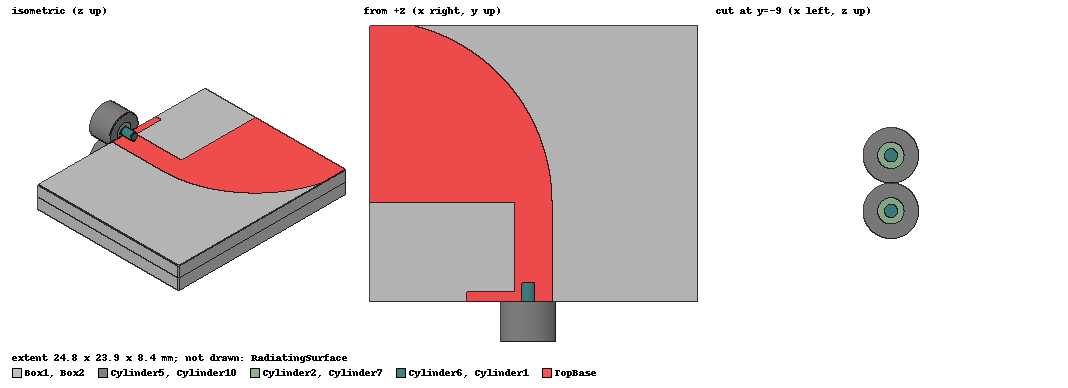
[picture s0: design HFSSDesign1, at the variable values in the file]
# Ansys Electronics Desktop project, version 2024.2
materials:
  vacuum: permittivity=1
  FR4_epoxy: permittivity=4.4 dielectric_loss_tangent=0.02
  polyethylene: permittivity=2.25 dielectric_loss_tangent=0.001
  copper: permeability=0.999991 conductivity=58000000

design HFSSDesign1 (HFSS, HFSS Modal Network, model units mm)
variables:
  W = 24.8mm
  L = 25mm
  Lg = 15mm
  Wg = 11mm
  Lf = 7.5mm
  Wd = 2.8mm
  Ld = 0.8mm
  Wf = 6.5mm
  h = 1.6mm
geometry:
  Circle1 = circle(normal=Z, centre=(0mm, 0mm, 0mm), radius=Wg+Wd)
  TopLeaf = rectangle(corner=(0mm, 0mm, 0mm), x_size=W, y_size=Lg-(Ld*2))
  TopLeaf.intersect(Circle1)
  TopSupport = rectangle(corner=(Wg, -Lf, 0mm), x_size=Wd, y_size=Lf)
  TopBase = rectangle(corner=(Wg-Wf+Wd, -Lf, 0mm), x_size=Wf, y_size=ld)
  grd = rectangle(corner=(0mm, -((Lg-(Ld*2)+Lf) - (lg - (Ld*2))), -h), x_size=W, y_size=Lg-(Ld*2)+Lf)
  Box1 [FR4_epoxy] = box(corner=(0mm, -((Lg-(Ld*2)+Lf) - (lg - (Ld*2))), -h), size=(W, Lg-(Ld*2)+Lf, h))
  Box2 [FR4_epoxy] = box(corner=(0mm, -((Lg-(Ld*2)+Lf) - (lg - (Ld*2))), -h*2), size=(W, Lg-(Ld*2)+Lf, h))
  TopBase.unite(TopLeaf, TopSupport)
  TopBase1 = rectangle(corner=(Wg-Wf+Wd, -Lf, -2*h), x_size=Wf, y_size=ld)
  TopLeaf2 = rectangle(corner=(0mm, 0mm, -2*h), x_size=W, y_size=Lg-(Ld*2))
  Circle4 = circle(normal=Z, centre=(0mm, 0mm, -2*h), radius=Wg+Wd)
  TopLeaf2.intersect(Circle4)
  TopSupport1 = rectangle(corner=(Wg, -Lf, -2*h), x_size=Wd, y_size=Lf)
  TopBase1.unite(TopLeaf2, TopSupport1)
  TopBase1.mirror(point=(12.4mm, 0mm, 0mm), normal=(-1mm, 0mm, 0mm))
  RadiatingSurface [vacuum] = region(absolute_offset=10mm on all sides)
  Cylinder1 [copper] = cylinder(axis=Y, base_centre=(12mm, -6mm, 0.5mm), radius=0.5mm, height=-4.5mm)
  Cylinder2 [polyethylene] = cylinder(axis=Y, base_centre=(12mm, -((Lg-(Ld*2)+Lf) - (lg - (Ld*2))), 0.5mm), radius=1mm, height=-3mm)
  Cylinder3 = cylinder(axis=Y, base_centre=(12mm, -6mm, 0.5mm), radius=0.5mm, height=-4.5mm)
  Cylinder4 = cylinder(axis=Y, base_centre=(12mm, -((Lg-(Ld*2)+Lf) - (lg - (Ld*2))), 0.5mm), radius=1mm, height=-3mm)
  Cylinder2.subtract(Cylinder3)
  Cylinder5 [copper] = cylinder(axis=Y, base_centre=(12mm, -((Lg-(Ld*2)+Lf) - (lg - (Ld*2))), 0.5mm), radius=2.1mm, height=-3mm)
  Cylinder5.subtract(Cylinder4)
  Cylinder6 [copper] = cylinder(axis=Y, base_centre=(12mm, -6mm, -3.7mm), radius=0.5mm, height=-4.5mm)
  Cylinder7 [polyethylene] = cylinder(axis=Y, base_centre=(12mm, -((Lg-(Ld*2)+Lf) - (lg - (Ld*2))), -3.7mm), radius=1mm, height=-3mm)
  Cylinder8 = cylinder(axis=Y, base_centre=(12mm, -6mm, -3.7mm), radius=0.5mm, height=-4.5mm)
  Cylinder9 = cylinder(axis=Y, base_centre=(12mm, -((Lg-(Ld*2)+Lf) - (lg - (Ld*2))), -3.7mm), radius=1mm, height=-3mm)
  Cylinder7.subtract(Cylinder8)
  Cylinder10 [copper] = cylinder(axis=Y, base_centre=(12mm, -((Lg-(Ld*2)+Lf) - (lg - (Ld*2))), -3.7mm), radius=2.1mm, height=-3mm)
  Cylinder10.subtract(Cylinder9)
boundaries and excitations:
  PerfE3: Perfect E Objects=TopBase
  PerfE7: Perfect E Objects=grd
  PerfE8: Perfect E Objects=TopBase1
  Open1: Radiation Objects=RadiatingSurface
  1: Lumped Port Faces=Cylinder2.face(-y end) LumpedPortType=Modal Modes{Mode1{IntLine{(12, -10.5, -0.5) -> (12, -10.5, 0)} CharImp=Zpi RenormImp=50ohm}} Impedance=50ohm
  2: Lumped Port Faces=Cylinder7.face(-y end) LumpedPortType=Modal Modes{Mode1{IntLine{(12, -10.5, -2.7) -> (12, -10.5, -3.2)} CharImp=Zpi RenormImp=50ohm}} Impedance=50ohm
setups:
  Setup1: HfssDriven Frequency=5GHz MaxDeltaS=0.02 MaximumPasses=6 MinimumPasses=1 MinimumConvergedPasses=1 PercentRefinement=30 BasisOrder=1 PortAccuracy=2 DrivenSolverType="Direct Solver"
    sweep Sweep: 1GHz to 16.8GHz, 201 points; Type=Discrete SaveFields
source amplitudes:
  1:1: 1W 0deg
  2:1: 0W 0deg
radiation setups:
  3D: Infinite Sphere Theta=0deg..180deg step 2deg Phi=-180deg..180deg step 2deg
  Elevation: Infinite Sphere Theta=-180deg..180deg step 1deg Phi=0deg..90deg step 90deg
  Azimuth: Infinite Sphere Theta=90deg..90deg step 0deg Phi=-180deg..180deg step 1deg
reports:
  S Parameter Plot 1: dB(S(1,1)) vs Freq on Setup1 : Sweep
  Gain Plot 1: dB(DirTotal) vs Theta on Setup1 : Sweep, Elevation [Phi=all Freq=12.06GHz]
  rE Plot 1: dB(rETotal) vs Theta on Setup1 : Sweep, Elevation [Phi=all Freq=1GHz]
